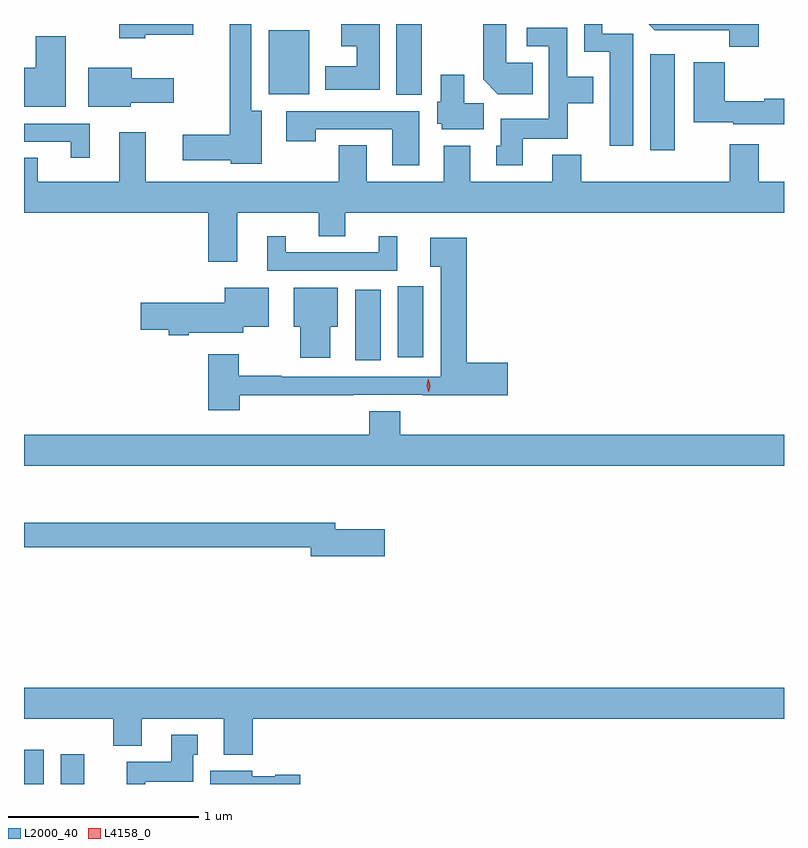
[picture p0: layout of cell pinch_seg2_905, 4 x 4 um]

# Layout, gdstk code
import gdstk
lib = gdstk.Library(unit=1e-6, precision=1e-09)
def R(c, l, rs):  # rectangles x0, y0, x1, y1
    for r in rs: c.add(gdstk.rectangle(r[:2], r[2:], *l))
def P(c, l, *ps):  # polygons
    for p in ps: c.add(gdstk.Polygon(p, *l))
L2000_40 = (2000, 40)
L4158_0 = (4158, 0)

pinch_seg2_905 = lib.new_cell('pinch_seg2_905')
R(pinch_seg2_905, L2000_40, [(601.396,637.969,601.501,638.149), (601.589,637.969,601.714,638.125), (603.14,640.198,603.274,640.57), (603.362,640.215,603.496,640.59), (604.691,641.304,604.822,641.809), (603.356,641.596,603.49,641.969), (602.684,641.6,602.896,641.935)])
P(pinch_seg2_905, L2000_40, [(602.647,641.512),(602.593,641.512),(602.593,641.969),(602.48,641.969),(602.48,641.387),(602.232,641.387),(602.232,641.252),(602.484,641.252),(602.484,641.234),(602.647,641.234)],
  [(603.268,641.969),(603.065,641.969),(603.065,641.852),(603.146,641.852),(603.146,641.746),(602.981,641.746),(602.981,641.624),(603.268,641.624)],
  [(605.264,641.969),(604.684,641.969),(604.717,641.936),(605.109,641.936),(605.109,641.849),(605.264,641.849)],
  [(604.073,641.764),(603.934,641.764),(603.934,641.969),(603.812,641.969),(603.812,641.678),(603.89,641.6),(604.073,641.6)],
  [(604.603,641.919),(604.44,641.919),(604.44,641.969),(604.344,641.969),(604.344,641.822),(604.478,641.822),(604.478,641.328),(604.603,641.328)],
  [(602.034,641.912),(602.287,641.912),(602.287,641.969),(601.898,641.969),(601.898,641.894),(602.034,641.894)],
  [(604.021,641.366),(604.257,641.366),(604.257,641.552),(604.393,641.552),(604.393,641.692),(604.254,641.692),(604.254,641.949),(604.041,641.949),(604.041,641.853),(604.158,641.853),(604.158,641.47),(603.905,641.47),(603.905,641.328),(603.881,641.328),(603.881,641.226),(604.021,641.226)],
  [(601.615,641.905),(601.457,641.905),(601.457,641.74),(601.396,641.74),(601.396,641.534),(601.615,641.534)],
  [(605.396,641.576),(605.292,641.576),(605.292,641.563),(605.084,641.563),(605.084,641.767),(604.922,641.767),(604.922,641.453),(605.13,641.453),(605.13,641.441),(605.396,641.441)],
  [(601.959,641.554),(602.185,641.554),(602.185,641.683),(601.963,641.683),(601.963,641.74),(601.733,641.74),(601.733,641.534),(601.959,641.534)],
  [(603.817,641.552),(603.712,641.552),(603.712,641.701),(603.59,641.701),(603.59,641.559),(603.572,641.559),(603.572,641.445),(603.594,641.445),(603.594,641.414),(603.817,641.414)],
  [(603.475,641.511),(602.775,641.511),(602.775,641.352),(602.931,641.352),(602.931,641.415),(603.335,641.415),(603.335,641.226),(603.475,641.226)],
  [(601.741,641.445),(601.396,641.445),(601.396,641.349),(601.643,641.349),(601.643,641.265),(601.741,641.265)],
  [(602.518,640.976),(602.948,640.976),(602.948,640.852),(603.088,640.852),(603.088,640.976),(605.396,640.976),(605.396,641.14),(605.264,641.14),(605.264,641.335),(605.111,641.335),(605.111,641.14),(604.328,641.14),(604.328,641.281),(604.175,641.281),(604.175,641.14),(603.745,641.14),(603.745,641.329),(603.605,641.329),(603.605,641.14),(603.199,641.14),(603.199,641.33),(603.052,641.33),(603.052,641.14),(602.038,641.14),(602.038,641.398),(601.898,641.398),(601.898,641.14),(601.468,641.14),(601.468,641.264),(601.396,641.264),(601.396,640.976),(602.366,640.976),(602.366,640.719),(602.518,640.719)],
  [(603.361,640.852),(603.263,640.852),(603.263,640.767),(602.773,640.767),(602.773,640.852),(602.675,640.852),(602.675,640.671),(603.361,640.671)],
  [(602.531,640.016),(603.128,640.016),(603.128,640.017),(603.494,640.017),(603.494,640.016),(603.943,640.016),(603.943,640.187),(603.725,640.187),(603.725,640.843),(603.534,640.843),(603.534,640.691),(603.59,640.691),(603.59,640.113),(602.753,640.113),(602.753,640.118),(602.526,640.118),(602.526,640.231),(602.366,640.231),(602.366,639.936),(602.531,639.936)],
  [(602.263,640.343),(602.551,640.343),(602.551,640.376),(602.683,640.376),(602.683,640.582),(602.453,640.582),(602.453,640.503),(602.01,640.503),(602.01,640.361),(602.159,640.361),(602.159,640.331),(602.263,640.331)],
  [(603.007,640.376),(603.046,640.376),(603.046,640.582),(602.816,640.582),(602.816,640.376),(602.849,640.376),(602.849,640.212),(603.007,640.212)],
  [(605.396,639.808),(603.377,639.808),(603.377,639.932),(603.212,639.932),(603.212,639.808),(601.396,639.808),(601.396,639.644),(605.396,639.644)],
  [(603.295,639.309),(603.034,639.309),(603.034,639.343),(601.396,639.343),(601.396,639.214),(602.906,639.214),(602.906,639.167),(603.295,639.167)],
  [(602.6,638.312),(605.396,638.312),(605.396,638.476),(601.396,638.476),(601.396,638.312),(601.865,638.312),(601.865,638.171),(602.017,638.171),(602.017,638.312),(602.447,638.312),(602.447,638.123),(602.6,638.123)],
  [(602.034,637.982),(602.287,637.982),(602.287,638.124),(602.311,638.124),(602.311,638.227),(602.171,638.227),(602.171,638.086),(601.936,638.086),(601.936,637.969),(602.034,637.969)],
  [(602.851,638.019),(602.718,638.019),(602.718,638.011),(602.598,638.011),(602.598,638.038),(602.375,638.038),(602.375,637.969),(602.851,637.969)])
P(pinch_seg2_905, L4158_0, [(603.527,640.03),(603.527,640.03),(603.515,640.066),(603.524,640.102),(603.524,640.102),(603.524,640.102),(603.535,640.066),(603.527,640.03)])

lib.write_gds('pinch_seg2_905.gds')
